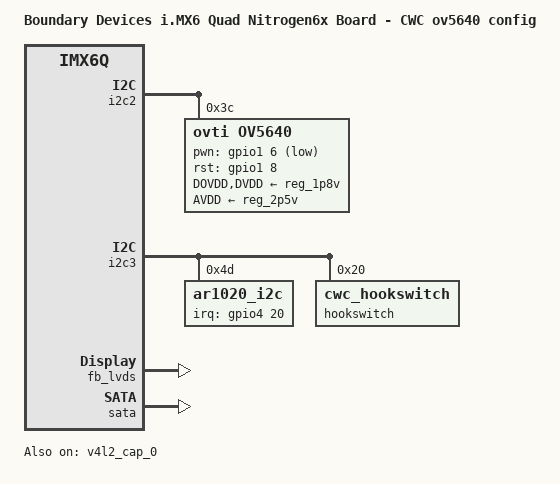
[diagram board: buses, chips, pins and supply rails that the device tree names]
/*
 * Copyright 2013 Boundary Devices
 * Copyright 2012 Freescale Semiconductor, Inc.
 * Copyright 2011 Linaro Ltd.
 *
 * The code contained herein is licensed under the GNU General Public
 * License. You may obtain a copy of the GNU General Public License
 * Version 2 or later at the following locations:
 *
 * http://www.opensource.org/licenses/gpl-license.html
 * http://www.gnu.org/copyleft/gpl.html
 */

/dts-v1/;

#include <dt-bindings/interrupt-controller/irq.h>
#include "imx6q.dtsi"
#include "imx6qdl-nitrogen6x.dtsi"

/ {
	model = "Boundary Devices i.MX6 Quad Nitrogen6x Board - CWC ov5640 config";
	compatible = "fsl,imx6q-nitrogen6x", "fsl,imx6q";

	/delete-node/ v4l2_cap_1;
	/delete-node/ v4l2_cap_2;
	/delete-node/ v4l2_cap_3;
};

&can1 {
	status = "disabled" ;
};

&hdmi_core {
	status = "disabled";
};

&i2c2 {
	/delete-node/ ov5642@3d;
	/delete-node/ ov5640_mipi@3e;

	ov5640@3c {
		compatible = "ovti,ov5640";
		reg = <0x3c>;
		pinctrl-names = "default";
		pinctrl-0 = <&pinctrl_i2c2_ov5642>;
		clocks = <&clks IMX6QDL_CLK_CKO2>;
		clock-names = "csi_mclk";
		DOVDD-supply = <&reg_1p8v>;
		AVDD-supply = <&reg_2p5v>;
		DVDD-supply = <&reg_1p8v>;
		pwn-gpios = <&gpio1 6 GPIO_ACTIVE_LOW>;
		rst-gpios = <&gpio1 8 GPIO_ACTIVE_HIGH>;
		ipu_id = <0>;
		csi_id = <0>;
		mclk = <24000000>;
		mclk_source = <0>;
	};
};

&i2c3 {
	inter-byte-delay = <170>;
	stop-delay = <30>;

	/delete-node/ ov5640@3c;
	/delete-node/ tsc2004@48;
	/delete-node/ egalax_ts@04;
	/delete-node/ ft5x06_ts@38;
	/delete-node/ ili210x@41;

	ar1020_i2c@4d {
		compatible = "ar1020_i2c";
		reg = <0x4d>;
		pinctrl-names = "default";
		pinctrl-0 = <&pinctrl_i2c3_tsc2004>;
		interrupts-extended = <&gpio4 20 IRQ_TYPE_LEVEL_LOW>;
		status = "okay";
	};

	hookswitch@20 {
		compatible = "cwc_hookswitch";
		reg = <0x20>;
		status = "okay";
	};
};

&iomuxc {
	/delete-node/ pinctrl_ov5640;
	/delete-node/ pinctrl_ov5640_gpios;
};

&fb_lvds {
	status = "okay";
};

&sata {
	status = "okay";
};

&v4l2_cap_0 {
	ipu_id = <0>;
	csi_id = <0>;
	mipi_camera = <0>;
	status = "okay" ;
};
